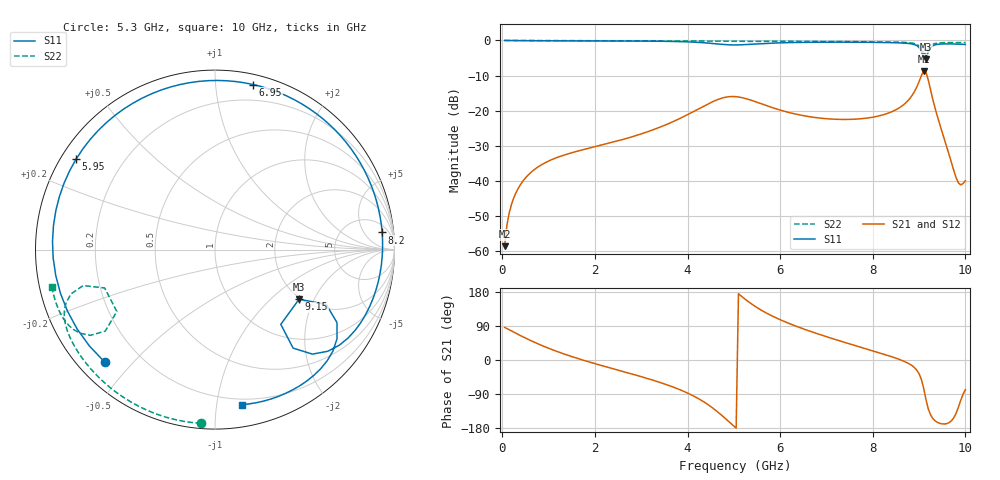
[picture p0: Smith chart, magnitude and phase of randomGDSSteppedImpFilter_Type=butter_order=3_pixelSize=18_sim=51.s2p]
! freq	dB(S11)	phase(S11)	dB(S12)	phase(S12)
!  dB(S21)	phase(S21)	dB(S22)	phase(S22)
!S-par simulation data
#  GHz  S  DB  R 50
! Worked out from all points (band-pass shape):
!   200 points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, 50 MHz to 10 GHz, reference 50 ohm
!   highest |S21| = -8.69 dB at 9.1 GHz (marker M1); lowest = -58.6 dB at 50 MHz (marker M2)
!   |S21| within 3 dB of the highest: 9.001 GHz to 9.206 GHz (204.6 MHz wide, 2.25 % of centre)
!   lowest |S11| = -5.3 dB at 9.15 GHz (marker M3), VSWR 3.38, Z = 98.1 - j76.9 ohm
!   |S11| at or under -10 dB: nowhere
!   |S22| runs from -3.8 to 0.0 dB; largest |S21 - S12| = 0
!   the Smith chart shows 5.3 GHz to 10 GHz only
!   S11 on the Smith chart (normalised r, x): 5.3 GHz: 0.08, -0.42; 5.95 GHz: 0.04, +0.30; 6.95 GHz: 0.07, +1.26; 8.2 GHz: 9, +14; 9.15 GHz: 1.96, -1.54; 10 GHz: 0.16, -1.18
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0.05  -0.00 -5.7  -58.58 86.1  -58.58 86.1  -0.00 -1.0
0.25  -0.04 -27.9  -44.75 73.4  -44.75 73.4  -0.01 -4.8
0.8  -0.09 -82.3  -35.77 41.1  -35.77 41.1  -0.02 -15.3
1.75  -0.12 -149.1  -31.09 -0.6  -31.09 -0.6  -0.05 -33.2
2.55  -0.15 168.5  -28.39 -28.5  -28.39 -28.5  -0.07 -47.9
3.4  -0.23 122.6  -24.72 -59.0  -24.72 -59.0  -0.10 -63.1
4.05  -0.43 73.7  -20.80 -90.1  -20.80 -90.1  -0.14 -74.5
4.55  -0.87 10.0  -17.39 -127.3  -17.39 -127.3  -0.21 -82.9
4.8  -1.17 -36.5  -16.22 -152.5  -16.22 -152.5  -0.25 -86.9
5.05  -1.27 -88.1  -16.02 -179.9  -16.02 -179.9  -0.27 -90.7
5.3  -1.13 -134.4  -16.71 155.2  -16.71 155.2  -0.26 -94.6
5.95  -0.69 147.0  -19.62 109.1  -19.62 109.1  -0.24 -105.0
6.7  -0.52 92.3  -21.84 73.6  -21.84 73.6  -0.26 -117.1
6.95  -0.50 76.9  -22.23 63.5  -22.23 63.5  -0.28 -121.1
8.2  -0.57 5.8  -21.26 16.8  -21.26 16.8  -0.41 -141.8
8.35  -0.61 -2.6  -20.62 11.0  -20.62 11.0  -0.44 -144.6
8.95  -1.45 -42.0  -13.27 -26.8  -13.27 -26.8  -1.11 -160.4
9.1  -5.12 -48.6  -8.69 -74.9  -8.69 -74.9  -3.73 -160.8
9.15  -5.29 -30.5  -9.08 -104.7  -9.08 -104.7  -3.79 -147.8
9.3  -1.50 -36.1  -16.97 -154.8  -16.97 -154.8  -1.06 -148.3
9.8  -1.02 -69.4  -39.10 -140.4  -39.10 -140.4  -0.59 -163.0
10  -1.14 -80.1  -39.91 -78.2  -39.91 -78.2  -0.61 -167.1
